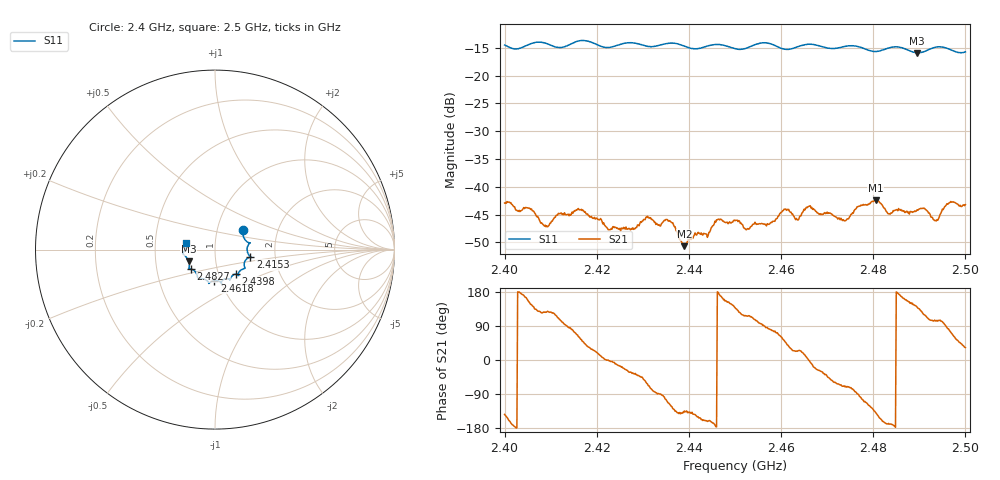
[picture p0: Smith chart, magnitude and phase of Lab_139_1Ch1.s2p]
# Hz S RI R 50
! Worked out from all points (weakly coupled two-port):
!   601 points, 2.4 GHz to 2.5 GHz, reference 50 ohm
!   highest |S21| = -42.43 dB at 2.4805 GHz (marker M1); lowest = -50.7 dB at 2.439 GHz (marker M2)
!   lowest |S11| = -15.9 dB at 2.4895 GHz (marker M3), VSWR 1.38, Z = 37 - j4.99 ohm
!   |S11| at or under -10 dB: start of sweep to end of sweep
!   S12 and S22 are empty: the file has one direction only
!   S11 on the Smith chart (normalised r, x): 2.4 GHz: 1.33, +0.29; 2.4153 GHz: 1.48, -0.12; 2.4398 GHz: 1.21, -0.34; 2.4618 GHz: 0.94, -0.33; 2.4827 GHz: 0.75, -0.17; 2.5 GHz: 0.72, +0.06
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2.4e9  0.1554 0.1066  -0.00575 -0.00424  0 0  0 0
2.409e9  0.192 0.0344  -0.00255 0.00355  0 0  0 0
2.415333e9  0.1964 -0.0396  0.0019 0.00576  0 0  0 0
2.416667e9  0.2023 -0.0436  0.00369 0.00508  0 0  0 0
2.422833e9  0.1635 -0.0744  0.00411 -0.000166  0 0  0 0
2.433333e9  0.1302 -0.1335  0.000139 -0.00452  0 0  0 0
2.436167e9  0.1321 -0.1449  -0.00256 -0.00408  0 0  0 0
2.439e9  0.1231 -0.1371  -0.00205 -0.00208  0 0  0 0
2.439833e9  0.1159 -0.1363  -0.00249 -0.00226  0 0  0 0
2.45e9  0.0647 -0.1621  -0.00372 0.00328  0 0  0 0
2.452667e9  0.0398 -0.1732  -0.0018 0.00379  0 0  0 0
2.461833e9  -0.00298 -0.1725  0.00501 0.00329  0 0  0 0
2.4635e9  -0.0234 -0.1796  0.00466 0.00196  0 0  0 0
2.466667e9  -0.0343 -0.1881  0.00642 -0.0012  0 0  0 0
2.473667e9  -0.0866 -0.1605  0.00184 -0.00461  0 0  0 0
2.4805e9  -0.1143 -0.1185  -0.00563 -0.00504  0 0  0 0
2.482667e9  -0.1353 -0.1086  -0.00603 -0.00144  0 0  0 0
2.483333e9  -0.1403 -0.108  -0.00558 -0.00124  0 0  0 0
2.4895e9  -0.1459 -0.0657  -0.00473 0.00402  0 0  0 0
2.493667e9  -0.1791 -0.0233  -0.00113 0.0048  0 0  0 0
2.4965e9  -0.1728 -0.0118  0.00144 0.00701  0 0  0 0
2.5e9  -0.1589 0.0384  0.00582 0.00374  0 0  0 0
